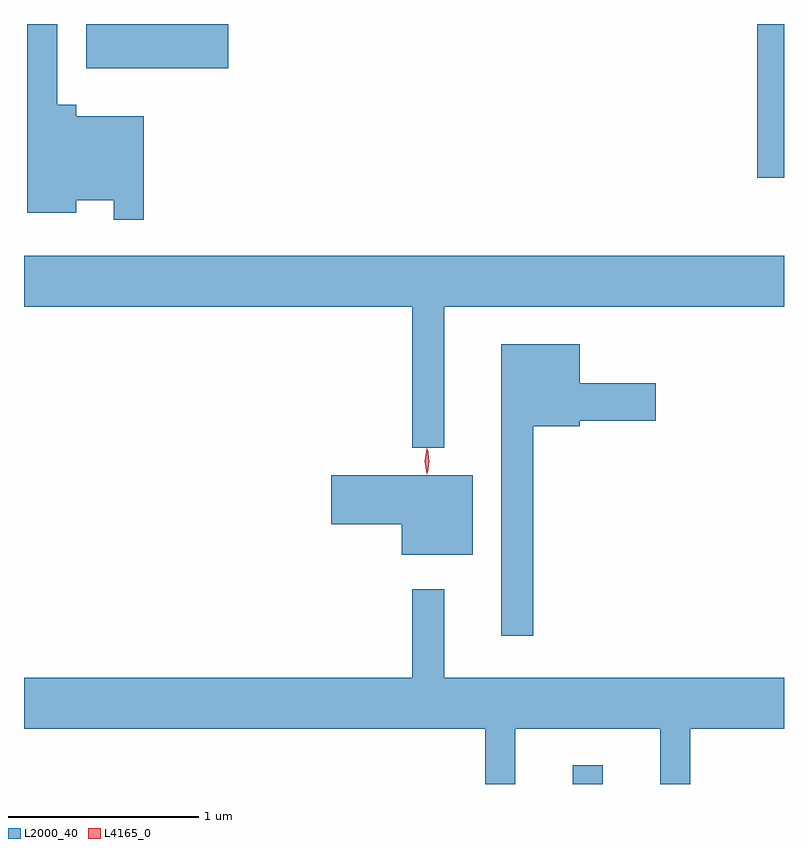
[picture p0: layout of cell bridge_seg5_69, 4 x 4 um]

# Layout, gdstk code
import gdstk
lib = gdstk.Library(unit=1e-6, precision=1e-09)
def R(c, l, rs):  # rectangles x0, y0, x1, y1
    for r in rs: c.add(gdstk.rectangle(r[:2], r[2:], *l))
def P(c, l, *ps):  # polygons
    for p in ps: c.add(gdstk.Polygon(p, *l))
L2000_40 = (2000, 40)
L4165_0 = (4165, 0)

bridge_seg5_69 = lib.new_cell('bridge_seg5_69')
R(bridge_seg5_69, L2000_40, [(1305.476,1525.324,1305.634,1525.423), (1306.446,1528.516,1306.588,1529.324), (1302.916,1529.091,1303.664,1529.324)])
P(bridge_seg5_69, L2000_40, [(1303.219,1528.839),(1302.864,1528.839),(1302.864,1528.899),(1302.764,1528.899),(1302.764,1529.324),(1302.606,1529.324),(1302.606,1528.331),(1302.864,1528.331),(1302.864,1528.396),(1303.061,1528.396),(1303.061,1528.293),(1303.219,1528.293)],
  [(1304.799,1527.836),(1306.588,1527.836),(1306.588,1528.104),(1302.588,1528.104),(1302.588,1527.836),(1304.631,1527.836),(1304.631,1527.093),(1304.799,1527.093)],
  [(1305.269,1527.206),(1305.514,1527.206),(1305.514,1527.236),(1305.914,1527.236),(1305.914,1527.434),(1305.514,1527.434),(1305.514,1527.639),(1305.101,1527.639),(1305.101,1526.103),(1305.269,1526.103)],
  [(1304.949,1526.949),(1304.206,1526.949),(1304.206,1526.691),(1304.576,1526.691),(1304.576,1526.531),(1304.949,1526.531)],
  [(1305.174,1525.616),(1305.936,1525.616),(1305.936,1525.324),(1306.094,1525.324),(1306.094,1525.616),(1306.588,1525.616),(1306.588,1525.884),(1304.799,1525.884),(1304.799,1526.348),(1304.631,1526.348),(1304.631,1525.884),(1302.588,1525.884),(1302.588,1525.616),(1305.016,1525.616),(1305.016,1525.324),(1305.174,1525.324)])
P(bridge_seg5_69, L4165_0, [(1304.707,1526.954),(1304.707,1526.954),(1304.698,1527.022),(1304.708,1527.09),(1304.709,1527.09),(1304.709,1527.09),(1304.718,1527.022),(1304.708,1526.954)],
  [(1304.712,1526.96),(1304.712,1526.96),(1304.702,1527.023),(1304.712,1527.086),(1304.712,1527.087),(1304.712,1527.086),(1304.722,1527.023),(1304.712,1526.96)])

lib.write_gds('bridge_seg5_69.gds')
